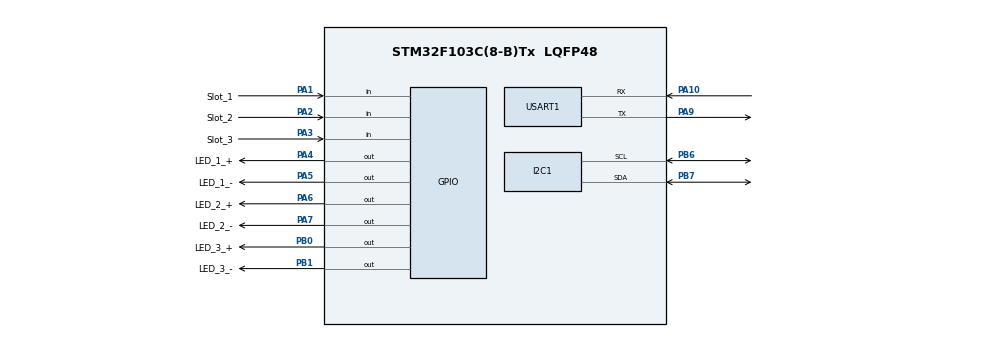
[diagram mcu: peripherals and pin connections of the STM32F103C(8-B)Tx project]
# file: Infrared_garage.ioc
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FREERTOS.INCLUDE_xEventGroupSetBitFromISR=1
FREERTOS.Tasks01=Infrared_Detect,24,128,Start_Infrared_Detect_Task,Default,NULL,Dynamic,NULL,NULL;LED_Show_Task,8,128,Start_LED_Show_Task,Default,NULL,Dynamic,NULL,NULL;LCD_Show_Task,8,128,Start_LCD_Show_Task,Default,NULL,Dynamic,NULL,NULL
FREERTOS.configRECORD_STACK_HIGH_ADDRESS=1
FREERTOS.configUSE_STATS_FORMATTING_FUNCTIONS=1
Mcu.Family=STM32F1
Mcu.Name=STM32F103C(8-B)Tx
Mcu.Package=LQFP48
NVIC.PriorityGroup=NVIC_PRIORITYGROUP_4
NVIC.TIM4_IRQn=true\:15\:0\:false\:false\:true\:false\:false\:true\:true
NVIC.TimeBase=TIM4_IRQn
NVIC.TimeBaseIP=TIM4
PA1.GPIO_Label=Slot_1
PA1.Signal=GPIO_Input
PA10.Mode=Asynchronous
PA10.Signal=USART1_RX
PA13.Mode=Serial_Wire
PA13.Signal=SYS_JTMS-SWDIO
PA14.Mode=Serial_Wire
PA14.Signal=SYS_JTCK-SWCLK
PA2.GPIO_Label=Slot_2
PA2.Signal=GPIO_Input
PA3.GPIO_Label=Slot_3
PA3.Signal=GPIO_Input
PA4.GPIO_Label=LED_1_+
PA4.Signal=GPIO_Output
PA5.GPIO_Label=LED_1_-
PA5.Signal=GPIO_Output
PA6.GPIO_Label=LED_2_+
PA6.Signal=GPIO_Output
PA7.GPIO_Label=LED_2_-
PA7.Signal=GPIO_Output
PA9.Mode=Asynchronous
PA9.Signal=USART1_TX
PB0.GPIO_Label=LED_3_+
PB0.Signal=GPIO_Output
PB1.GPIO_Label=LED_3_-
PB1.Signal=GPIO_Output
PB6.Mode=I2C
PB6.Signal=I2C1_SCL
PB7.Mode=I2C
PB7.Signal=I2C1_SDA
PC14-OSC32_IN.Mode=LSE-External-Oscillator
PC14-OSC32_IN.Signal=RCC_OSC32_IN
PC15-OSC32_OUT.Mode=LSE-External-Oscillator
PC15-OSC32_OUT.Signal=RCC_OSC32_OUT
PD0-OSC_IN.Mode=HSE-External-Oscillator
PD0-OSC_IN.Signal=RCC_OSC_IN
PD1-OSC_OUT.Mode=HSE-External-Oscillator
PD1-OSC_OUT.Signal=RCC_OSC_OUT
ProjectManager.HeapSize=0x200
ProjectManager.StackSize=0x400
ProjectManager.TargetToolchain=CMake
RCC.AHBFreq_Value=72000000
RCC.APB1CLKDivider=RCC_HCLK_DIV2
RCC.APB1Freq_Value=36000000
RCC.APB1TimFreq_Value=72000000
RCC.APB2Freq_Value=72000000
RCC.APB2TimFreq_Value=72000000
RCC.HCLKFreq_Value=72000000
RCC.PLLMUL=RCC_PLL_MUL9
RCC.PLLSourceVirtual=RCC_PLLSOURCE_HSE
RCC.SYSCLKFreq_VALUE=72000000
RCC.SYSCLKSource=RCC_SYSCLKSOURCE_PLLCLK
RCC.USBFreq_Value=72000000
USART1.VirtualMode=VM_ASYNC
VP_FREERTOS_VS_CMSIS_V2.Mode=CMSIS_V2
VP_SYS_VS_tim4.Mode=TIM4
board=custom

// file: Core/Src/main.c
/* USER CODE BEGIN Header */
/**
  ******************************************************************************
  * @file           : main.c
  * @brief          : Main program body
  ******************************************************************************
  * @attention
  *
  * Copyright (c) 2026 STMicroelectronics.
  * All rights reserved.
  *
  * This software is licensed under terms that can be found in the LICENSE file
  * in the root directory of this software component.
  * If no LICENSE file comes with this software, it is provided AS-IS.
  *
  ******************************************************************************
  */
/* USER CODE END Header */
#include "main.h"
#include "cmsis_os.h"
#include "i2c.h"
#include "usart.h"
#include "gpio.h"

void SystemClock_Config(void);

void MX_FREERTOS_Init(void);

int main(void) {

    /* MCU Configuration--------------------------------------------------------*/

    /* Reset of all peripherals, Initializes the Flash interface and the Systick. */
    HAL_Init();

    /* Configure the system clock */
    SystemClock_Config();

    /* Initialize all configured peripherals */
    MX_GPIO_Init();
    MX_I2C1_Init();
    MX_USART1_UART_Init();
    /* USER CODE BEGIN 2 */
    LL_mDelay(500);
    OLED_Init();
    OLED_Clear();
    /* USER CODE END 2 */

    /* Init scheduler */
    osKernelInitialize(); /* Call init function for freertos objects (in cmsis_os2.c) */
    MX_FREERTOS_Init();

    /* Start scheduler */
    osKernelStart();

    /* We should never get here as control is now taken by the scheduler */

    /* Infinite loop */
    while (1) {

    }
}

void SystemClock_Config(void) {
    LL_FLASH_SetLatency(LL_FLASH_LATENCY_2);
    while (LL_FLASH_GetLatency() != LL_FLASH_LATENCY_2) {
    }
    LL_RCC_HSE_Enable();

    /* Wait till HSE is ready */
    while (LL_RCC_HSE_IsReady() != 1) {
    }
    LL_RCC_PLL_ConfigDomain_SYS(LL_RCC_PLLSOURCE_HSE_DIV_1, LL_RCC_PLL_MUL_9);
    LL_RCC_PLL_Enable();

    /* Wait till PLL is ready */
    while (LL_RCC_PLL_IsReady() != 1) {
    }
    LL_RCC_SetAHBPrescaler(LL_RCC_SYSCLK_DIV_1);
    LL_RCC_SetAPB1Prescaler(LL_RCC_APB1_DIV_2);
    LL_RCC_SetAPB2Prescaler(LL_RCC_APB2_DIV_1);
    LL_RCC_SetSysClkSource(LL_RCC_SYS_CLKSOURCE_PLL);

    /* Wait till System clock is ready */
    while (LL_RCC_GetSysClkSource() != LL_RCC_SYS_CLKSOURCE_STATUS_PLL) {
    }
    LL_SetSystemCoreClock(72000000);

    /* Update the time base */
    if (HAL_InitTick(TICK_INT_PRIORITY) != HAL_OK) {
        Error_Handler();
    }
}

void HAL_TIM_PeriodElapsedCallback(TIM_HandleTypeDef *htim) {
    if (htim->Instance == TIM4) {
        HAL_IncTick();
    }
}

void Error_Handler(void) {
    __disable_irq();
    while (1) {
    }
}

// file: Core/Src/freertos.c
/* USER CODE BEGIN Header */
/**
  ******************************************************************************
  * File Name          : freertos.c
  * Description        : Code for freertos applications
  ******************************************************************************
  * @attention
  *
  * Copyright (c) 2026 STMicroelectronics.
  * All rights reserved.
  *
  * This software is licensed under terms that can be found in the LICENSE file
  * in the root directory of this software component.
  * If no LICENSE file comes with this software, it is provided AS-IS.
  *
  ******************************************************************************
  */
/* USER CODE END Header */

#include "FreeRTOS.h"
#include "task.h"
#include "main.h"
#include "cmsis_os.h"

/* USER CODE BEGIN Includes */
#include "event_groups.h"
#include "i2c.h"
/* USER CODE END Includes */

/* USER CODE BEGIN PD */
#define SLOT_1_OCCUPIED  (1 << 0)
#define SLOT_2_OCCUPIED  (1 << 1)
#define SLOT_3_OCCUPIED  (1 << 2)
/* USER CODE END PD */

/* USER CODE BEGIN Variables */
EventGroupHandle_t ParkingStatusGroup;
/* USER CODE END Variables */
/* Definitions for Infrared_Detect */
osThreadId_t Infrared_DetectHandle;
const osThreadAttr_t Infrared_Detect_attributes = {
  .name = "Infrared_Detect",
  .stack_size = 128 * 4,
  .priority = (osPriority_t) osPriorityNormal,
};
/* Definitions for LED_Show_Task */
osThreadId_t LED_Show_TaskHandle;
const osThreadAttr_t LED_Show_Task_attributes = {
  .name = "LED_Show_Task",
  .stack_size = 128 * 4,
  .priority = (osPriority_t) osPriorityLow,
};
/* Definitions for LCD_Show_Task */
osThreadId_t LCD_Show_TaskHandle;
const osThreadAttr_t LCD_Show_Task_attributes = {
  .name = "LCD_Show_Task",
  .stack_size = 128 * 4,
  .priority = (osPriority_t) osPriorityLow,
};

void Start_Infrared_Detect_Task(void *argument);
void Start_LED_Show_Task(void *argument);
void Start_LCD_Show_Task(void *argument);

void MX_FREERTOS_Init(void); /* (MISRA C 2004 rule 8.1) */

void MX_FREERTOS_Init(void) {

  /* Create the thread(s) */
  /* creation of Infrared_Detect */
  Infrared_DetectHandle = osThreadNew(Start_Infrared_Detect_Task, NULL, &Infrared_Detect_attributes);

  /* creation of LED_Show_Task */
  LED_Show_TaskHandle = osThreadNew(Start_LED_Show_Task, NULL, &LED_Show_Task_attributes);

  /* creation of LCD_Show_Task */
  LCD_Show_TaskHandle = osThreadNew(Start_LCD_Show_Task, NULL, &LCD_Show_Task_attributes);

}

void Start_Infrared_Detect_Task(void *argument)
{
  /* USER CODE BEGIN Start_Infrared_Detect_Task */
    uint8_t last_status = 0x00;
    /* Infinite loop */
    for (;;) {
        uint8_t current_status = 0x00;

        // 使用 LL 库读取 PA0, PA1, PA2 的状态
        // 假设红外模块检测到障碍物(有车)输出低电平(0)，无障碍物输出高电平(1)
        if (LL_GPIO_IsInputPinSet(GPIOA, LL_GPIO_PIN_0) == 0) current_status |= SLOT_1_OCCUPIED;
        if (LL_GPIO_IsInputPinSet(GPIOA, LL_GPIO_PIN_1) == 0) current_status |= SLOT_2_OCCUPIED;
        if (LL_GPIO_IsInputPinSet(GPIOA, LL_GPIO_PIN_2) == 0) current_status |= SLOT_3_OCCUPIED;

        // 简易防抖：延时 20ms 后再次确认状态
        vTaskDelay(pdMS_TO_TICKS(20));

        uint8_t confirm_status = 0x00;
        if (LL_GPIO_IsInputPinSet(GPIOA, LL_GPIO_PIN_0) == 0) confirm_status |= SLOT_1_OCCUPIED;
        if (LL_GPIO_IsInputPinSet(GPIOA, LL_GPIO_PIN_1) == 0) confirm_status |= SLOT_2_OCCUPIED;
        if (LL_GPIO_IsInputPinSet(GPIOA, LL_GPIO_PIN_2) == 0) confirm_status |= SLOT_3_OCCUPIED;

        // 如果两次读取状态一致，且与上次记录的状态不同，说明车位状态发生了实质性改变
        if ((current_status == confirm_status) && (current_status != last_status)) {
            // 更新 EventGroup
            // 先清除相关的 3 个 bit，再设置新的状态 bit
            xEventGroupClearBits(ParkingStatusGroup, SLOT_1_OCCUPIED | SLOT_2_OCCUPIED | SLOT_3_OCCUPIED);
            xEventGroupSetBits(ParkingStatusGroup, current_status);

            last_status = current_status; // 更新记录
        }

        // 轮询周期：50ms 扫描一次即可，既保证了实时性又释放了 CPU
        vTaskDelay(pdMS_TO_TICKS(30));

    }
  /* USER CODE END Start_Infrared_Detect_Task */
}

void Start_LED_Show_Task(void *argument)
{
  /* USER CODE BEGIN Start_LED_Show_Task */
    EventBits_t status_bits;
    /* Infinite loop */
    for (;;) {
        // 阻塞等待事件标志组的任意一位发生变化
        // 参数说明：句柄,
        //         等待的位,
        //         退出时是否清除(否),
        //         是否等待所有位(否),
        //         阻塞时间(死等)
        status_bits = xEventGroupWaitBits(ParkingStatusGroup,
                                          SLOT_1_OCCUPIED | SLOT_2_OCCUPIED | SLOT_3_OCCUPIED,
                                          pdFALSE,
                                          pdFALSE,
                                          portMAX_DELAY);

        // 根据读取到的状态，使用 LL 库高速翻转 LED
        // 假设高电平点亮红灯(有车)，低电平熄灭
        if (status_bits & SLOT_1_OCCUPIED) LL_GPIO_SetOutputPin(GPIOB, LL_GPIO_PIN_0);
        else LL_GPIO_ResetOutputPin(GPIOB, LL_GPIO_PIN_0);

        if (status_bits & SLOT_2_OCCUPIED) LL_GPIO_SetOutputPin(GPIOB, LL_GPIO_PIN_1);
        else LL_GPIO_ResetOutputPin(GPIOB, LL_GPIO_PIN_1);

        if (status_bits & SLOT_3_OCCUPIED) LL_GPIO_SetOutputPin(GPIOB, LL_GPIO_PIN_2);
        else LL_GPIO_ResetOutputPin(GPIOB, LL_GPIO_PIN_2);

    }
  /* USER CODE END Start_LED_Show_Task */
}

void Start_LCD_Show_Task(void *argument)
{
  /* USER CODE BEGIN Start_LCD_Show_Task */
    /* Infinite loop */
    for (;;) {
        // 读取事件标志组的状态，但不阻塞等待，每 100ms 刷新一次显示
        EventBits_t status_bits = xEventGroupGetBits(ParkingStatusGroup);
        //每次刷新前先清屏，防止残影
        OLED_Clear();
        OLED_ShowChar(1,16,'SLOT1:empty');
        osDelay(100);
    }
  /* USER CODE END Start_LCD_Show_Task */
}
